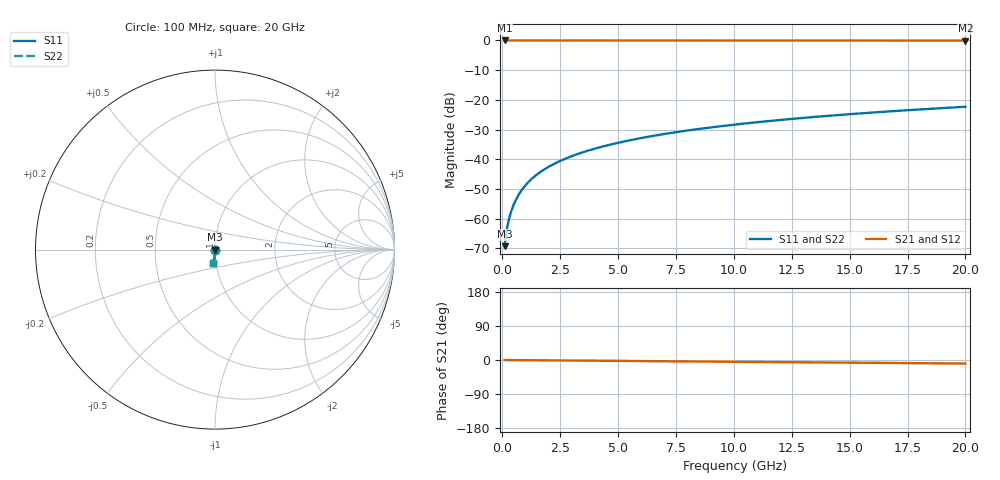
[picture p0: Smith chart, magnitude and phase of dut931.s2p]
! Touchstone file exported from HFSS 2026.1.0
!  File:  C:/ffzhzh/LocalFiles/Ansys_Project_Files/temp_train_TSV_931_1783186860_18472.aedt
!  Generated:  01:42:20 AM Jul  5, 2026
!  Design:  TSV
!  Project:  temp_train_TSV_931_1783186860_18472
! Variables:
!  h_bsmrdl = 2um
!  h_ox = 20um
!  h_rdl = 5um
!  h_sub = 87.31um
!  h_tmrdl = 5um
!  h_tsv = 87.31um
!  h_via = 3um
!  l_bsmrdl = 300um
!  l_sub = 428.8um
!  l_tmrdl = 200um
!  m_sub = 200um
!  pitch = 38.72um
!  r_tsv = 14.4um
!  s_tmrdl = 10um
!  w_bsmrdl = 18um
!  w_sub = 500um
!  w_tmrdl = 12um
!  x_tsv_center1 = 206um
!  x_tsv_center2 = 524um
!  x_tsv_center3 = 736um
!  x_tsv_center4 = 1054um
!  x_tsv_center5 = 1266um
!  x_tsv_center6 = 1584um
# GHz S MA R 50.000000
! Terminal data exported
! Port[1] = TSV1_1_T1
! Port[2] = TSV1_1_T2
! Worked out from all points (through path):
!   200 points, 100 MHz to 20 GHz, reference 50 ohm
!   highest |S21| = 0.00 dB at 100 MHz (marker M1); lowest = 0.0 dB at 20 GHz (marker M2)
!   group delay of S21, straight-line fit = 1.29 ps
!   lowest |S11| = -69.3 dB at 100 MHz (marker M3), VSWR 1.00, Z = 50 - j0.0331 ohm
!   |S11| at or under -10 dB: start of sweep to end of sweep
!   |S22| runs from -69.3 to -22.3 dB; largest |S21 - S12| = 3.6e-15
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0.1  0.0003427 -75.1  0.9999 -0.0  0.9999 -0.0  0.0003427 -75.1
! Gamma 0 0 0 0
! Port Impedance 50 0 50 0
0.2  0.0006762 -81.0  0.9999 -0.1  0.9999 -0.1  0.0006762 -81.0
0.3  0.001022 -82.6  0.9999 -0.1  0.9999 -0.1  0.001022 -82.6
0.4  0.001378 -83.4  0.9998 -0.2  0.9998 -0.2  0.001378 -83.4
0.5  0.001743 -83.8  0.9998 -0.2  0.9998 -0.2  0.001743 -83.8
0.7  0.002489 -84.6  0.9997 -0.3  0.9997 -0.3  0.002489 -84.6
0.8  0.002867 -85.0  0.9997 -0.4  0.9997 -0.4  0.002867 -85.0
1  0.003628 -85.7  0.9997 -0.5  0.9997 -0.5  0.003628 -85.7
1.2  0.00439 -86.2  0.9997 -0.6  0.9997 -0.6  0.00439 -86.2
1.4  0.005153 -86.7  0.9996 -0.7  0.9996 -0.7  0.005153 -86.7
1.7  0.006297 -87.3  0.9996 -0.8  0.9996 -0.8  0.006297 -87.3
2  0.007439 -87.8  0.9996 -0.9  0.9996 -0.9  0.007439 -87.8
2.7  0.01011 -88.7  0.9995 -1.3  0.9995 -1.3  0.01011 -88.7
3.5  0.01316 -89.4  0.9994 -1.7  0.9994 -1.7  0.01316 -89.4
4.2  0.01583 -89.9  0.9993 -2.0  0.9993 -2.0  0.01583 -89.9
5  0.01889 -90.5  0.9992 -2.4  0.9992 -2.4  0.01889 -90.5
6.8  0.0258 -91.6  0.9989 -3.2  0.9989 -3.2  0.0258 -91.6
8.3  0.03157 -92.4  0.9987 -3.9  0.9987 -3.9  0.03157 -92.4
10.1  0.03849 -93.4  0.9984 -4.7  0.9984 -4.7  0.03849 -93.4
13.4  0.05116 -95.1  0.9977 -6.3  0.9977 -6.3  0.05116 -95.1
16.7  0.06379 -96.8  0.9968 -7.8  0.9968 -7.8  0.06379 -96.8
20  0.07638 -98.4  0.9958 -9.3  0.9958 -9.3  0.07638 -98.4
